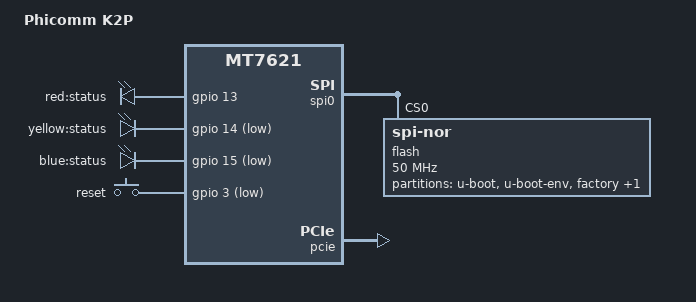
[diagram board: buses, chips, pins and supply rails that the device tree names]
#include "mt7621.dtsi"

#include <dt-bindings/gpio/gpio.h>
#include <dt-bindings/input/input.h>

/ {
	compatible = "phicomm,k2p", "mediatek,mt7621-soc";
	model = "Phicomm K2P";

	aliases {
		led-boot = &led_blue;
		led-failsafe = &led_blue;
		led-running = &led_blue;
		led-upgrade = &led_blue;
	};

	leds {
		compatible = "gpio-leds";

		stat_r {
			label = "red:status";
			gpios = <&gpio 13 GPIO_ACTIVE_HIGH>;
		};

		stat_y {
			label = "yellow:status";
			gpios = <&gpio 14 GPIO_ACTIVE_LOW>;
		};

		led_blue: stat_b {
			label = "blue:status";
			gpios = <&gpio 15 GPIO_ACTIVE_LOW>;
		};
	};

	keys {
		compatible = "gpio-keys";

		reset {
			label = "reset";
			gpios = <&gpio 3 GPIO_ACTIVE_LOW>;
			linux,code = <KEY_RESTART>;
		};
	};
};

&spi0 {
	status = "okay";

	flash@0 {
		compatible = "jedec,spi-nor";
		reg = <0>;
		spi-max-frequency = <50000000>;

		partitions {
			compatible = "fixed-partitions";
			#address-cells = <1>;
			#size-cells = <1>;

			partition@0 {
				label = "u-boot";
				reg = <0x0 0x30000>;
				read-only;
			};

			partition@30000 {
				label = "u-boot-env";
				reg = <0x30000 0x10000>;
				read-only;
			};

			factory: partition@40000 {
				label = "factory";
				reg = <0x40000 0x10000>;
				read-only;
			};

			/*
			 * 原厂 permanent_config (0x50000, 320KiB) 已弃用：
			 * 本机不再回原厂固件，把该段并入 firmware 换 320KiB 空间。
			 * 0x50000 + 0xfb0000 = 0x1000000 (16MiB)，
			 * 对应 mt7621.mk 的 IMAGE_SIZE := 16064k。
			 */
			partition@50000 {
				compatible = "denx,uimage";
				label = "firmware";
				reg = <0x50000 0xfb0000>;
			};
		};
	};
};

&pcie {
	status = "okay";
};

&pcie0 {
	mt76@0,0 {
		reg = <0x0000 0 0 0 0>;
		mediatek,mtd-eeprom = <&factory 0x0>;
	};
};

&ethernet {
	compatible = "mediatek,ralink-mt7621-eth";
	mediatek,switch = <&gsw>;
	nvmem-cells = <&macaddr_factory_e000>;
	nvmem-cell-names = "mac-address";
};

&switch0 {
	/delete-property/ compatible;
	phy-mode = "rgmii";
};

&gsw {
	compatible = "mediatek,ralink-mt7621-gsw";
};

&state_default {
	gpio {
		groups = "i2c", "jtag";
		function = "gpio";
	};
};

&factory {
	compatible = "nvmem-cells";
	#address-cells = <1>;
	#size-cells = <1>;

	macaddr_factory_e000: macaddr@e000 {
		reg = <0xe000 0x6>;
	};

	macaddr_factory_e006: macaddr@e006 {
		reg = <0xe006 0x6>;
	};
};
